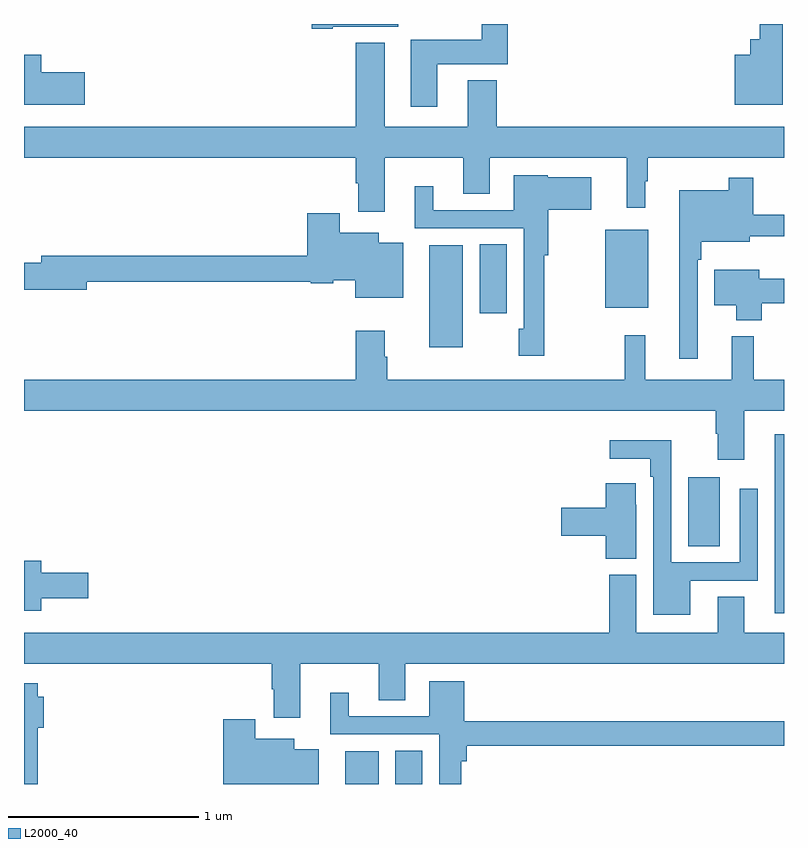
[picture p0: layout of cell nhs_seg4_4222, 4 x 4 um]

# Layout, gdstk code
import gdstk
lib = gdstk.Library(unit=1e-6, precision=1e-09)
def R(c, l, rs):  # rectangles x0, y0, x1, y1
    for r in rs: c.add(gdstk.rectangle(r[:2], r[2:], *l))
def P(c, l, *ps):  # polygons
    for p in ps: c.add(gdstk.Polygon(p, *l))
L2000_40 = (2000, 40)

nhs_seg4_4222 = lib.new_cell('nhs_seg4_4222')
R(nhs_seg4_4222, L2000_40, [(338.69,750.9,338.866,751.072), (338.954,750.9,339.097,751.076), (340.952,751.8,341,752.74), (340.496,752.152,340.663,752.515), (339.134,753.2,339.31,753.736), (339.398,753.378,339.541,753.74), (340.058,753.407,340.285,753.817)])
P(nhs_seg4_4222, L2000_40, [(340.993,754.9),(340.872,754.9),(340.872,754.819),(340.823,754.819),(340.823,754.738),(340.742,754.738),(340.742,754.475),(340.993,754.475)],
  [(338.626,754.886),(338.971,754.886),(338.971,754.9),(338.514,754.9),(338.514,754.874),(338.626,754.874)],
  [(339.175,754.688),(339.545,754.688),(339.545,754.9),(339.41,754.9),(339.41,754.816),(339.035,754.816),(339.035,754.464),(339.175,754.464)],
  [(338.899,754.196),(339.311,754.196),(339.311,754.006),(339.451,754.006),(339.451,754.196),(340.172,754.196),(340.172,753.933),(340.27,753.933),(340.27,754.073),(340.282,754.073),(340.282,754.196),(341,754.196),(341,754.36),(339.488,754.36),(339.488,754.603),(339.335,754.603),(339.335,754.36),(338.899,754.36),(338.899,754.801),(338.747,754.801),(338.747,754.36),(337,754.36),(337,754.196),(338.747,754.196),(338.747,754.062),(338.759,754.062),(338.759,753.912),(338.899,753.912)],
  [(337.321,754.646),(337.09,754.646),(337.09,754.738),(337,754.738),(337,754.475),(337.321,754.475)],
  [(339.739,753.683),(339.76,753.683),(339.76,753.923),(339.985,753.923),(339.985,754.093),(339.756,754.093),(339.756,754.105),(339.578,754.105),(339.578,753.921),(339.154,753.921),(339.154,754.045),(339.056,754.045),(339.056,753.825),(339.63,753.825),(339.63,753.297),(339.604,753.297),(339.604,753.153),(339.739,753.153)],
  [(340.545,753.659),(340.565,753.659),(340.565,753.755),(340.819,753.755),(340.819,753.784),(341,753.784),(341,753.895),(340.838,753.895),(340.838,754.09),(340.71,754.09),(340.71,754.024),(340.448,754.024),(340.448,753.138),(340.545,753.138)],
  [(338.995,753.748),(338.866,753.748),(338.866,753.802),(338.662,753.802),(338.662,753.904),(338.492,753.904),(338.492,753.68),(337.091,753.68),(337.091,753.644),(337,753.644),(337,753.502),(337.33,753.502),(337.33,753.544),(338.508,753.544),(338.508,753.536),(338.628,753.536),(338.628,753.551),(338.744,753.551),(338.744,753.458),(338.995,753.458)],
  [(340.883,753.43),(341,753.43),(341,753.559),(340.87,753.559),(340.87,753.607),(340.634,753.607),(340.634,753.419),(340.748,753.419),(340.748,753.341),(340.883,753.341)],
  [(340.792,752.864),(341,752.864),(341,753.028),(340.841,753.028),(340.841,753.256),(340.724,753.256),(340.724,753.028),(340.271,753.028),(340.271,753.262),(340.161,753.262),(340.161,753.028),(338.912,753.028),(338.912,753.149),(338.899,753.149),(338.899,753.286),(338.747,753.286),(338.747,753.028),(337,753.028),(337,752.864),(340.64,752.864),(340.64,752.744),(340.652,752.744),(340.652,752.607),(340.792,752.607)],
  [(340.507,751.971),(340.863,751.971),(340.863,752.455),(340.767,752.455),(340.767,752.067),(340.407,752.067),(340.407,752.71),(340.083,752.71),(340.083,752.612),(340.295,752.612),(340.295,752.516),(340.311,752.516),(340.311,751.79),(340.507,751.79)],
  [(340.222,752.369),(340.221,752.369),(340.221,752.482),(340.061,752.482),(340.061,752.354),(339.828,752.354),(339.828,752.207),(340.061,752.207),(340.061,752.086),(340.222,752.086)],
  [(337.09,751.877),(337.339,751.877),(337.339,752.012),(337.09,752.012),(337.09,752.074),(337,752.074),(337,751.811),(337.09,751.811)],
  [(341,751.696),(340.792,751.696),(340.792,751.886),(340.652,751.886),(340.652,751.696),(340.222,751.696),(340.222,752.001),(340.079,752.001),(340.079,751.696),(337,751.696),(337,751.532),(338.303,751.532),(338.303,751.398),(338.315,751.398),(338.315,751.248),(338.455,751.248),(338.455,751.532),(338.867,751.532),(338.867,751.342),(339.007,751.342),(339.007,751.532),(341,751.532)],
  [(339.302,751.019),(339.329,751.019),(339.329,751.102),(341,751.102),(341,751.231),(339.316,751.231),(339.316,751.441),(339.134,751.441),(339.134,751.257),(338.71,751.257),(338.71,751.381),(338.612,751.381),(338.612,751.161),(339.186,751.161),(339.186,750.9),(339.302,750.9)],
  [(337.073,751.195),(337.103,751.195),(337.103,751.36),(337.073,751.36),(337.073,751.429),(337,751.429),(337,750.9),(337.073,750.9)],
  [(338.551,751.084),(338.422,751.084),(338.422,751.138),(338.218,751.138),(338.218,751.24),(338.048,751.24),(338.048,750.9),(338.551,750.9)])

lib.write_gds('nhs_seg4_4222.gds')
